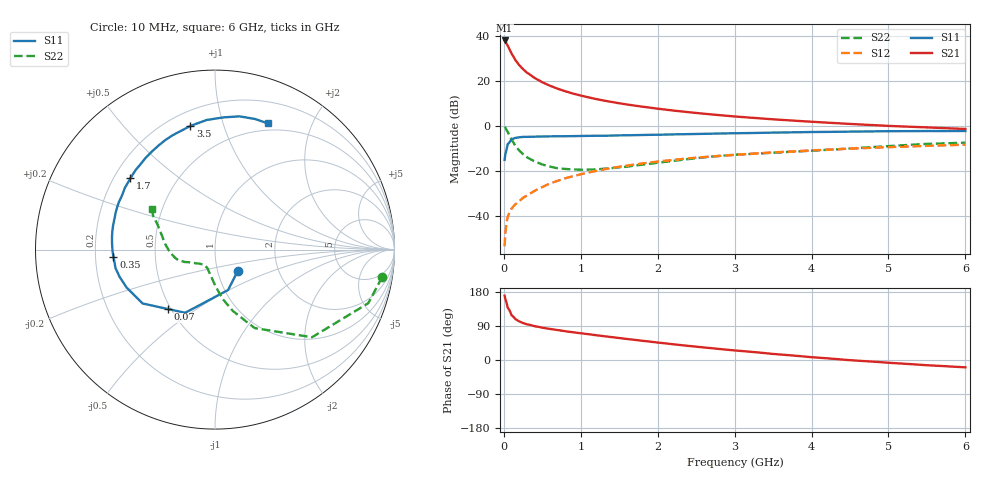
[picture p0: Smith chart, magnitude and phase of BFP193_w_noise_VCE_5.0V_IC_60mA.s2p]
! Infineon Technologies  Discrete & RF Semiconductors
! BFP193
! VCE =  5.0 V,  IC =  60 mA
! Common Emitter S-Parameters:  Jan 2017
# GHz  S  MA  R  50
!  f  S11  S21  S12  S22
! GHz  MAG  ANG  MAG  ANG  MAG  ANG  MAG  ANG
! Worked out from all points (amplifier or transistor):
!   77 points, 10 MHz to 6 GHz, reference 50 ohm
!   highest |S21| = 37.9 dB at 10 MHz (marker M1)
!   |S21| within 3 dB of that: start of sweep to 60.75 MHz
!   unconditionally stable (mu >= 1): 480.6 MHz to 2.339 GHz
!   at 130 MHz: K = 0.66, MSG = 33.0 dB, |S12| = -35.7 dB
!   at 2.2 GHz: K = 1.01, MAG = 10.4 dB, |S12| = -15.2 dB
!   at 6 GHz: K = 0.92, MSG = 3.5 dB, |S12| = -8.5 dB
!   lowest NFmin = 1.67 dB at 450 MHz
!   S11 on the Smith chart (normalised r, x): 10 MHz: 1.25, -0.31; 70 MHz: 0.48, -0.39; 350 MHz: 0.28, -0.03; 1.7 GHz: 0.27, +0.34; 3.5 GHz: 0.29, +0.78; 6 GHz: 0.42, +1.42
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0.01  0.1743 -43.5  78.43 169.9  0.0021 82.9  0.9442 -9.3
0.02  0.2367 -72.1  75.9 160.7  0.0042 79.1  0.9045 -19.3
0.05  0.3893 -115.3  60.35 138.3  0.0094 64.7  0.7285 -42.1
0.07  0.4217 -128.2  51.54 132.2  0.0114 63.0  0.6239 -48.6
0.1  0.5025 -143.3  40.02 118.2  0.0143 61.3  0.4899 -63.2
0.15  0.5361 -156.8  28.73 108.1  0.0179 60.7  0.3558 -73.8
0.2  0.5529 -164.1  22.19 101.9  0.0209 63.9  0.281 -80.8
0.25  0.564 -169.5  18.02 97.4  0.0251 65.0  0.2325 -85.5
0.3  0.5646 -173.2  15.12 94.3  0.0279 66.8  0.199 -89.9
0.35  0.567 -176.1  13.29 92.1  0.0317 67.8  0.1792 -92.7
0.4  0.5709 -179.0  11.49 89.2  0.0356 68.5  0.16 -96.2
0.5  0.5751 176.2  9.226 85.3  0.0434 69.3  0.1375 -102.0
0.6  0.579 172.3  7.73 81.9  0.052 69.8  0.1231 -107.1
0.8  0.5841 165.8  5.82 75.9  0.0679 69.8  0.1091 -114.9
1.1  0.5941 156.5  4.262 68.1  0.0913 67.0  0.1059 -126.4
1.7  0.6164 139.8  2.796 53.2  0.1371 60.2  0.13 -143.7
2.1  0.6342 129.7  2.279 43.9  0.1663 54.9  0.1574 -152.9
3.1  0.6827 108.5  1.557 23.6  0.231 42.0  0.2303 -169.7
3.5  0.7024 101.3  1.386 16.0  0.2547 37.5  0.2511 -176.4
4.1  0.7258 92.1  1.197 6.0  0.2873 30.1  0.2843 171.7
5.1  0.7553 78.3  0.974 -8.5  0.3379 18.5  0.3599 155.0
6  0.7623 67.2  0.846 -19.4  0.378 8.5  0.4188 147.2
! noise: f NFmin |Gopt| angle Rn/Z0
0.45  1.67  0.48  -170  0.1
0.9  1.73  0.49  -163  0.1
1.9  2.41  0.62  -131  0.27
2.4  2.75  0.65  -118  0.56
